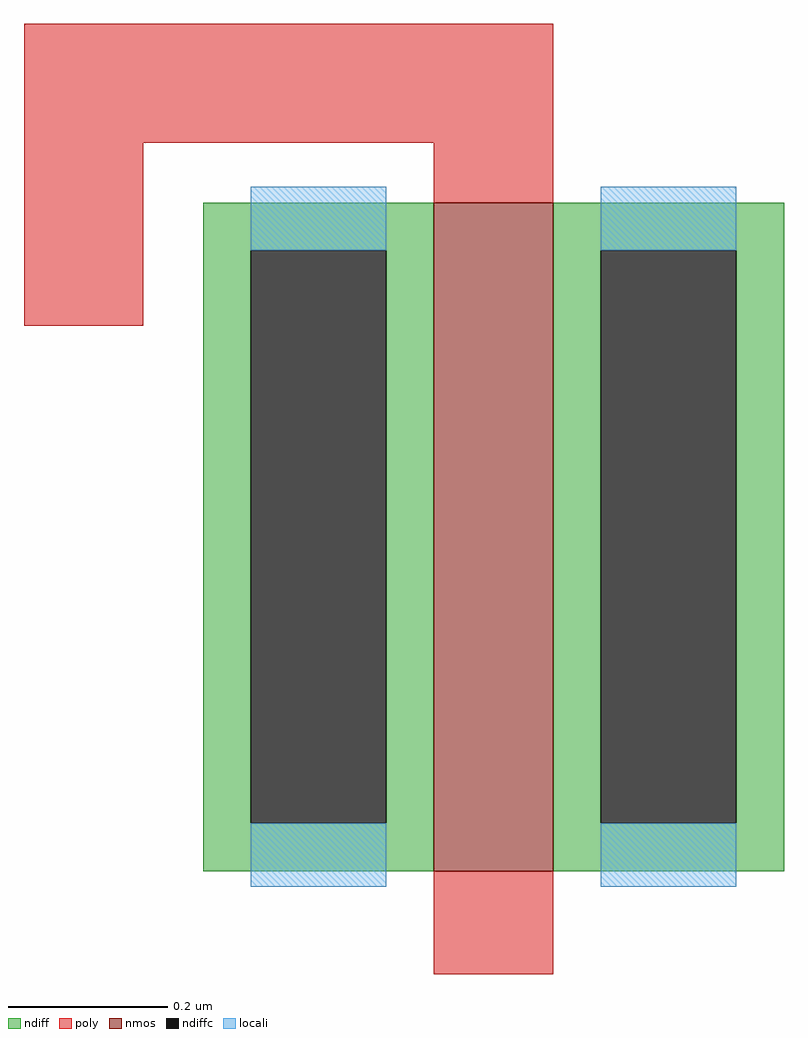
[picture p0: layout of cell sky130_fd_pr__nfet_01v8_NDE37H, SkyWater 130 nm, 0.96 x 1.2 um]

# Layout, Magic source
magic
tech sky130A
magscale 1 2
<< nmos >>
rect -15 -115 15 53
<< ndiff >>
rect -73 41 -15 53
rect -73 -103 -61 41
rect -27 -103 -15 41
rect -73 -115 -15 -103
rect 15 41 73 53
rect 15 -103 27 41
rect 61 -103 73 41
rect 15 -115 73 -103
<< ndiffc >>
rect -61 -103 -27 41
rect 27 -103 61 41
<< poly >>
rect -118 68 15 98
rect -118 22 -88 68
rect -15 53 15 68
rect -15 -141 15 -115
<< locali >>
rect -61 41 -27 57
rect -61 -119 -27 -103
rect 27 41 61 57
rect 27 -119 61 -103
<< properties >>
string gencell sky130_fd_pr__nfet_01v8
string library sky130
string parameters w 0.84 l 0.150 m 1 nf 1 diffcov 100 polycov 100 guard 0 glc 0 grc 0 gtc 0 gbc 0 tbcov 100 rlcov 100 topc 1 botc 0 poverlap 0 doverlap 1 lmin 0.15 wmin 0.42 compatible {sky130_fd_pr__nfet_01v8 sky130_fd_pr__nfet_01v8_lvt  sky130_fd_bs_flash__special_sonosfet_star  sky130_fd_pr__nfet_g5v0d10v5 sky130_fd_pr__nfet_05v0_nvt  sky130_fd_pr__nfet_03v3_nvt} full_metal 0 viasrc 100 viadrn 100 viagate 100 viagb 0 viagr 0 viagl 0 viagt 0
<< end >>
